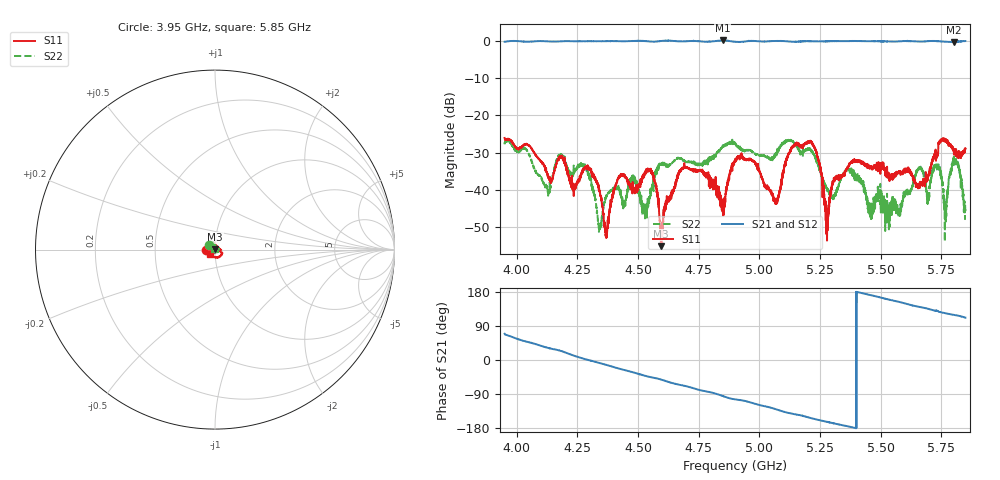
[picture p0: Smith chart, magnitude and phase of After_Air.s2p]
# GHZ S RI R 50.000000000000
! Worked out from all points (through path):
!   4501 points, 3.95 GHz to 5.85 GHz, reference 50 ohm
!   highest |S21| = 0.16 dB at 4.849 GHz (marker M1); lowest = -0.3 dB at 5.803 GHz (marker M2)
!   group delay of S21, straight-line fit = 456 ps
!   lowest |S11| = -55.2 dB at 4.594 GHz (marker M3), VSWR 1.00, Z = 50 + j0.172 ohm
!   |S11| at or under -10 dB: start of sweep to end of sweep
!   |S22| runs from -53.9 to -26.5 dB; largest |S21 - S12| = 0.093
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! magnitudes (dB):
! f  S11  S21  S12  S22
! 3.95 GHz  -26.1  -0.2  -0.2  -27.8
! 4.13 GHz  -36.3  -0.1  -0.1  -40.7
! 4.267 GHz  -35.7  0.0  -0.1  -33.3
! 4.342 GHz  -40.5  0.0  -0.1  -49.9
! 4.368 GHz  -52.0  0.0  -0.1  -42.2
! 4.431 GHz  -36.0  -0.1  -0.1  -41.8
! 4.53 GHz  -35.3  0.0  0.0  -47.5
! 4.584 GHz  -43.9  -0.1  -0.2  -34.4
! 4.594 GHz  -55.2  0.0  -0.1  -33.0
! 4.689 GHz  -33.9  -0.1  -0.1  -32.1
! 4.849 GHz  -44.0  0.2  0.1  -28.1
! 4.9 GHz  -32.1  -0.2  -0.2  -27.7
! 5.068 GHz  -43.5  0.0  0.0  -30.5
! 5.217 GHz  -27.2  -0.1  -0.1  -29.8
! 5.28 GHz  -53.7  -0.1  -0.1  -40.1
! 5.383 GHz  -32.4  0.0  0.0  -34.9
! 5.534 GHz  -35.9  -0.1  -0.1  -46.7
! 5.661 GHz  -38.6  -0.1  -0.2  -33.9
! 5.739 GHz  -27.3  0.0  -0.1  -33.2
! 5.768 GHz  -26.6  -0.2  -0.2  -47.2
! 5.803 GHz  -30.5  -0.3  -0.3  -31.1
! 5.85 GHz  -28.9  0.0  0.0  -44.8
